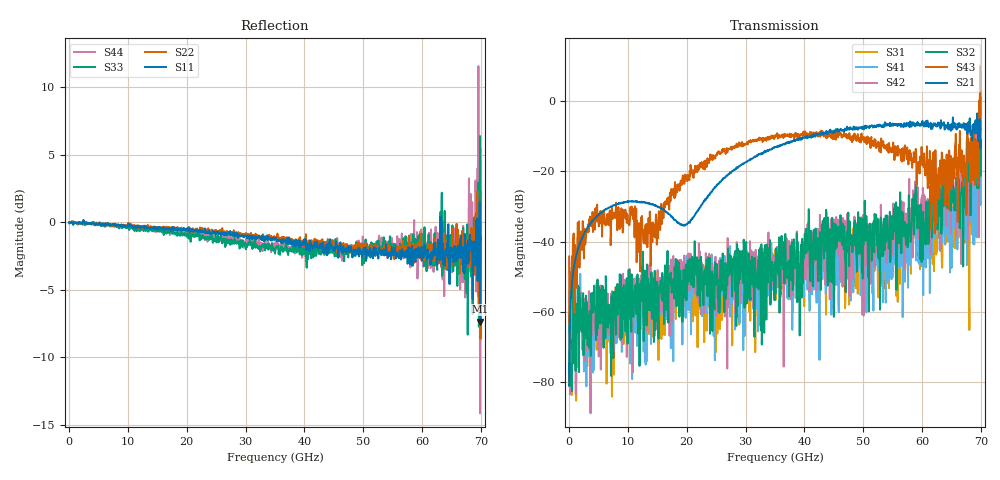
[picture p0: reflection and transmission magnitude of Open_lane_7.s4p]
!Pstart = -2.000000E+001
!Pstop = -1.000000E+001
!Pstep = 2.564103E-001
! 4/30/2026 12:14:51 PM
! C:\ANRITSUVNA\TEMP\TEMP.S4P
! CHANNEL.1
! TR.MEASUREMENT
! CORRECTED.DATA
! RF.CORRECTION: FULL.FOUR.PORT.CAL.PORT.1.2.3.4
! AVERAGING.OFF
! IF.BANDWIDTH: 100HZ
! SWEEPTYPE:  FREQ.SWEEP(Linear)
! Reference Plane Port Info
! DISTANCE:  0  m  0  m  0  m  0  m
! TIME:  0  s  0  s  0  s  0  s
! PHASE.OFFSET:  0 °  0 °  0 °  0 °
! LOSS:  0  dB  0  dB  0  dB  0  dB
! REF.LOSS:  0  dB  0  dB  0  dB  0  dB
! REF.FREQ:  0  Hz  0  Hz  0  Hz  0  Hz
! Power Info
! POWER:  -20  dBm  -20  dBm  -20  dBm  -20  dBm
! EFF.POWER:  -20  dBm  -20  dBm  -40  dBm  -40  dBm
! SOURCE.ATTEN:  0  dB  0  dB  20  dB  20  dB
! TEST.ATTEN:  0  dB  0  dB  20  dB  20  dB
! Created with skrf 1.9.0 (http://scikit-rf.org).
# Hz S RI R 50.0
!freq ReS11 ImS11 ReS12 ImS12 ReS13 ImS13
! ReS14 ImS14
! ReS21 ImS21 ReS22 ImS22 ReS23 ImS23
! ReS24 ImS24
! ReS31 ImS31 ReS32 ImS32 ReS33 ImS33
! ReS34 ImS34
! ReS41 ImS41 ReS42 ImS42 ReS43 ImS43
! ReS44 ImS44
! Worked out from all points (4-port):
!   1001 points, 10 MHz to 70 GHz, reference 50 ohm
!   strongest paths, dB at 10 MHz, 17.51 GHz, 35.01 GHz, 52.5 GHz, 70 GHz:
!     S21: -80.9, -32.8, -13.0, -6.9, -11.0
!     S43: -44.2, -26.6, -10.3, -12.5, -8.1
!     S32: -61.3, -53.4, -45.7, -44.5, -13.1
!     S42: -60.1, -62.6, -45.7, -42.4, 1.1
!     S41: -61.6, -58.9, -49.0, -47.9, -2.1
!     S31: -60.9, -55.5, -42.2, -53.3, -13.2
!   lowest |S11| = -7.4 dB at 69.86 GHz (marker M1), VSWR 2.50, Z = 33.5 + j35.1 ohm
!   |S11| at or under -10 dB: nowhere
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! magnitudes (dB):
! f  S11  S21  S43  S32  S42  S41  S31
! 10 MHz  0.0  -80.9  -44.2  -61.3  -60.1  -61.6  -60.9
! 1.48 GHz  -0.1  -42.4  -34.5  -52.4  -61.5  -65.5  -58.0
! 6.589 GHz  -0.2  -30.5  -33.2  -64.4  -54.7  -62.1  -66.0
! 32.35 GHz  -1.0  -15.0  -10.3  -43.2  -52.8  -59.8  -46.7
! 56.56 GHz  -2.1  -6.7  -17.2  -39.1  -30.1  -40.1  -41.0
! 69.86 GHz  -7.4  -11.6  10.0  -6.6  -8.4  -10.8  -20.5
! 70 GHz  -1.0  -11.0  -8.1  -13.1  1.1  -2.1  -13.2
